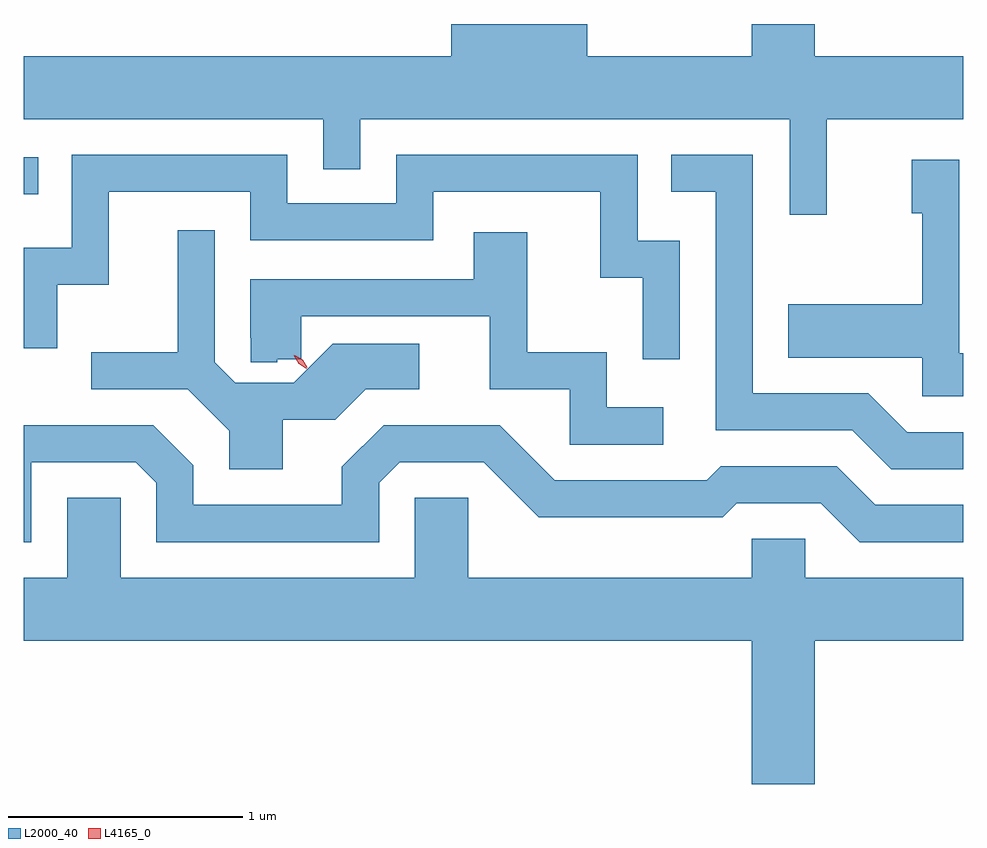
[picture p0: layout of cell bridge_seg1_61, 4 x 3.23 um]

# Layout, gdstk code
import gdstk
lib = gdstk.Library(unit=1e-6, precision=1e-09)
def R(c, l, rs):  # rectangles x0, y0, x1, y1
    for r in rs: c.add(gdstk.rectangle(r[:2], r[2:], *l))
def P(c, l, *ps):  # polygons
    for p in ps: c.add(gdstk.Polygon(p, *l))
L2000_40 = (2000, 40)
L4165_0 = (4165, 0)

bridge_seg1_61 = lib.new_cell('bridge_seg1_61')
R(bridge_seg1_61, L2000_40, [(1810.376,903.696,1810.438,903.854)])
P(bridge_seg1_61, L2000_40, [(1813.794,904.016),(1814.376,904.016),(1814.376,904.284),(1813.744,904.284),(1813.744,904.421),(1813.476,904.421),(1813.476,904.284),(1812.774,904.284),(1812.774,904.421),(1812.196,904.421),(1812.196,904.284),(1810.376,904.284),(1810.376,904.016),(1811.651,904.016),(1811.651,903.803),(1811.809,903.803),(1811.809,904.016),(1813.636,904.016),(1813.636,903.608),(1813.794,903.608)],
  [(1813.169,903.499),(1812.989,903.499),(1812.989,903.864),(1811.961,903.864),(1811.961,903.659),(1811.499,903.659),(1811.499,903.864),(1810.581,903.864),(1810.581,903.469),(1810.376,903.469),(1810.376,903.041),(1810.519,903.041),(1810.519,903.311),(1810.739,903.311),(1810.739,903.706),(1811.341,903.706),(1811.341,903.501),(1812.119,903.501),(1812.119,903.706),(1812.831,903.706),(1812.831,903.341),(1813.011,903.341),(1813.011,902.993),(1813.169,902.993)],
  [(1814.376,902.684),(1814.137,902.684),(1813.972,902.849),(1813.479,902.849),(1813.479,903.864),(1813.133,903.864),(1813.133,903.706),(1813.321,903.706),(1813.321,902.691),(1813.904,902.691),(1814.069,902.526),(1814.376,902.526)],
  [(1814.376,903.019),(1814.359,903.019),(1814.359,903.844),(1814.156,903.844),(1814.156,903.616),(1814.201,903.616),(1814.201,903.229),(1813.631,903.229),(1813.631,903.001),(1814.201,903.001),(1814.201,902.836),(1814.376,902.836)],
  [(1811.479,902.736),(1811.702,902.736),(1811.832,902.866),(1812.059,902.866),(1812.059,903.06),(1811.692,903.06),(1811.526,902.894),(1811.277,902.894),(1811.189,902.982),(1811.189,903.543),(1811.031,903.543),(1811.031,903.024),(1810.663,903.024),(1810.663,902.866),(1811.074,902.866),(1811.251,902.689),(1811.251,902.526),(1811.479,902.526)],
  [(1813.098,902.789),(1812.859,902.789),(1812.859,903.024),(1812.519,903.024),(1812.519,903.534),(1812.291,903.534),(1812.291,903.334),(1811.341,903.334),(1811.341,903.085),(1811.342,903.085),(1811.342,902.982),(1811.455,902.982),(1811.455,902.995),(1811.558,902.995),(1811.558,903.176),(1812.361,903.176),(1812.361,902.866),(1812.701,902.866),(1812.701,902.631),(1813.098,902.631)],
  [(1810.409,902.556),(1810.854,902.556),(1810.941,902.469),(1810.941,902.216),(1811.889,902.216),(1811.889,902.469),(1811.977,902.556),(1812.334,902.556),(1812.569,902.321),(1813.352,902.321),(1813.412,902.381),(1813.769,902.381),(1813.934,902.216),(1814.376,902.216),(1814.376,902.374),(1814.002,902.374),(1813.837,902.539),(1813.344,902.539),(1813.284,902.479),(1812.637,902.479),(1812.402,902.714),(1811.909,902.714),(1811.731,902.537),(1811.731,902.374),(1811.099,902.374),(1811.099,902.542),(1810.927,902.714),(1810.376,902.714),(1810.376,902.216),(1810.409,902.216)],
  [(1813.744,901.796),(1814.376,901.796),(1814.376,902.064),(1813.704,902.064),(1813.704,902.229),(1813.476,902.229),(1813.476,902.064),(1812.269,902.064),(1812.269,902.404),(1812.041,902.404),(1812.041,902.064),(1810.789,902.064),(1810.789,902.404),(1810.561,902.404),(1810.561,902.064),(1810.376,902.064),(1810.376,901.796),(1813.476,901.796),(1813.476,901.186),(1813.744,901.186)])
P(bridge_seg1_61, L4165_0, [(1811.583,902.958),(1811.55,902.978),(1811.53,903.011),(1811.53,903.012),(1811.531,903.012),(1811.564,902.992),(1811.584,902.959),(1811.584,902.958)],
  [(1811.58,902.953),(1811.546,902.975),(1811.525,903.01),(1811.525,903.01),(1811.526,903.01),(1811.56,902.989),(1811.581,902.954),(1811.581,902.953)])

lib.write_gds('bridge_seg1_61.gds')
